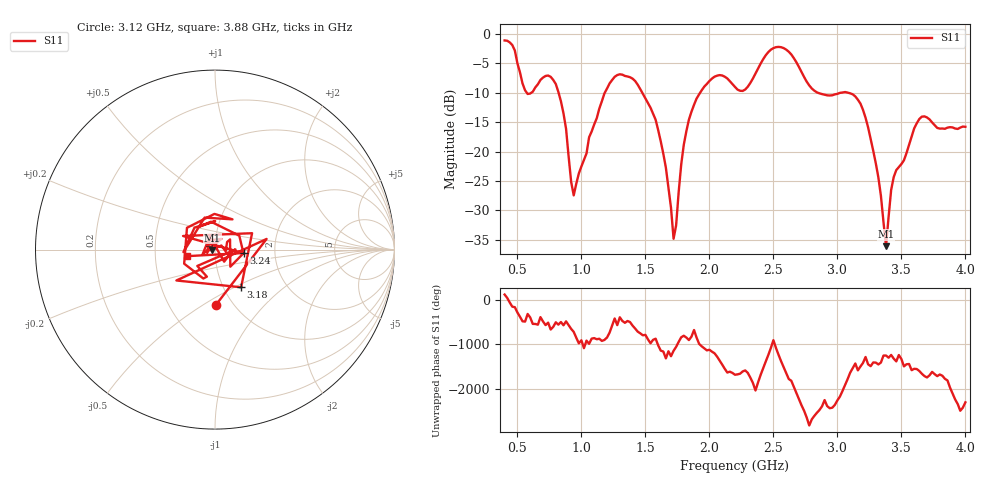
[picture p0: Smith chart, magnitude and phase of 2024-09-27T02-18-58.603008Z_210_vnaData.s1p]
!Created with skrf (http://scikit-rf.org).
# Hz S RI R 50.0
!freq ReS11 ImS11
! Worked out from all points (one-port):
!   181 points, 400 MHz to 4 GHz, reference 50 ohm
!   lowest |S11| = -36.1 dB at 3.38 GHz (marker M1), VSWR 1.03, Z = 48.5 - j0.253 ohm
!   |S11| at or under -10 dB: 821.5 MHz to 1.183 GHz (361.5 MHz wide, 36.1 % of centre); 1.475 GHz to 1.928 GHz (452.9 MHz wide, 26.6 % of centre); 3.081 GHz to end of sweep (the widest 3 of 5)
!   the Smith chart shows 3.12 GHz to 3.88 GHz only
!   S11 on the Smith chart (normalised r, x): 3.12 GHz: 0.84, -0.57; 3.18 GHz: 1.21, -0.54; 3.24 GHz: 1.38, -0.06; 3.88 GHz: 0.73, -0.05
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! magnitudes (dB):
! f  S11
! 400 MHz  -1.1
! 580 MHz  -10.2
! 760 MHz  -7.3
! 860 MHz  -13.5
! 940 MHz  -27.4
! 1.18 GHz  -10.1
! 1.3 GHz  -6.9
! 1.58 GHz  -14.6
! 1.66 GHz  -22.8
! 1.72 GHz  -34.8
! 1.76 GHz  -26.9
! 1.82 GHz  -16.5
! 1.9 GHz  -11.0
! 2.2 GHz  -9.0
! 2.5 GHz  -2.4
! 2.66 GHz  -4.2
! 2.84 GHz  -10.0
! 3.1 GHz  -10.1
! 3.12 GHz  -10.3
! 3.18 GHz  -11.9
! 3.24 GHz  -15.9
! 3.32 GHz  -24.4
! 3.38 GHz  -36.1
! 3.44 GHz  -24.3
! 3.56 GHz  -18.9
! 3.66 GHz  -14.1
! 3.88 GHz  -15.9
! 4 GHz  -15.8
